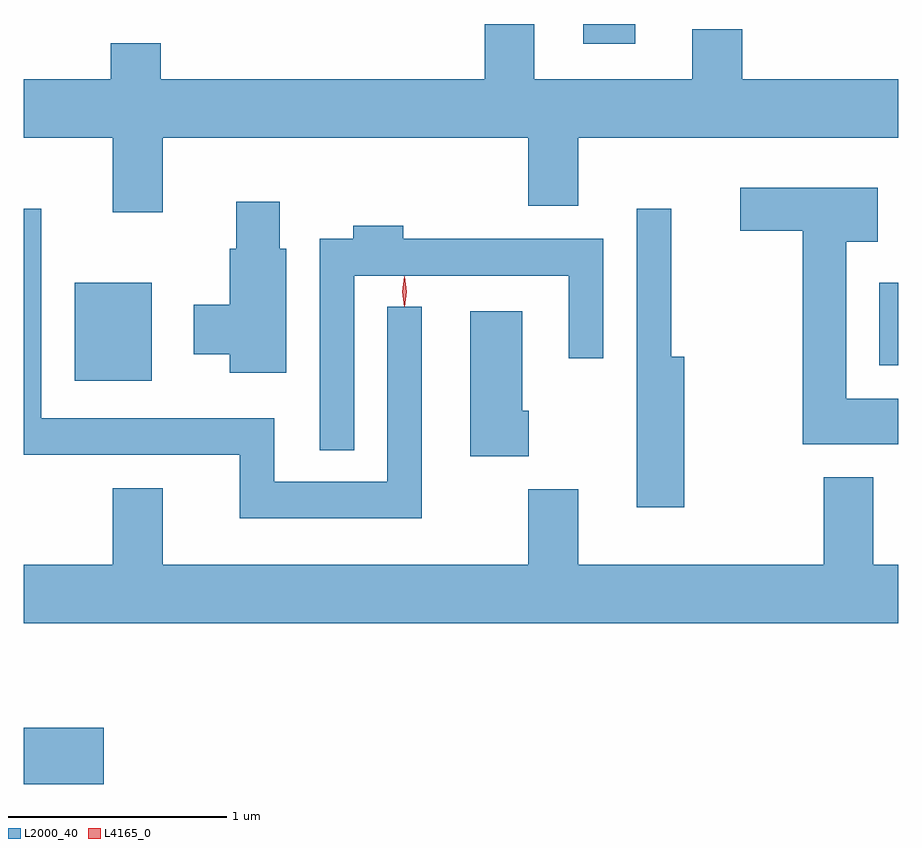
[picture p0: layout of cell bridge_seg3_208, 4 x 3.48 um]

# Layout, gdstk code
import gdstk
lib = gdstk.Library(unit=1e-6, precision=1e-09)
def R(c, l, rs):  # rectangles x0, y0, x1, y1
    for r in rs: c.add(gdstk.rectangle(r[:2], r[2:], *l))
def P(c, l, *ps):  # polygons
    for p in ps: c.add(gdstk.Polygon(p, *l))
L2000_40 = (2000, 40)
L4165_0 = (4165, 0)

bridge_seg3_208 = lib.new_cell('bridge_seg3_208')
R(bridge_seg3_208, L2000_40, [(919.543,1167.461,919.909,1167.719), (919.776,1169.306,920.129,1169.754), (923.456,1169.376,923.543,1169.754), (922.103,1170.846,922.339,1170.937)])
P(bridge_seg3_208, L2000_40, [(920.179,1170.416),(921.851,1170.416),(921.851,1170.106),(922.079,1170.106),(922.079,1170.416),(923.543,1170.416),(923.543,1170.684),(922.829,1170.684),(922.829,1170.914),(922.601,1170.914),(922.601,1170.684),(921.879,1170.684),(921.879,1170.937),(921.651,1170.937),(921.651,1170.684),(920.169,1170.684),(920.169,1170.849),(919.941,1170.849),(919.941,1170.684),(919.543,1170.684),(919.543,1170.416),(919.951,1170.416),(919.951,1170.076),(920.179,1170.076)],
  [(923.543,1169.224),(923.304,1169.224),(923.304,1169.941),(923.449,1169.941),(923.449,1170.189),(922.821,1170.189),(922.821,1169.991),(923.106,1169.991),(923.106,1169.016),(923.543,1169.016)],
  [(920.744,1169.909),(920.714,1169.909),(920.714,1170.124),(920.516,1170.124),(920.516,1169.909),(920.486,1169.909),(920.486,1169.654),(920.321,1169.654),(920.321,1169.426),(920.486,1169.426),(920.486,1169.341),(920.744,1169.341)],
  [(922.564,1169.414),(922.504,1169.414),(922.504,1170.093),(922.346,1170.093),(922.346,1168.726),(922.564,1168.726)],
  [(921.364,1169.643),(921.206,1169.643),(921.206,1168.844),(920.689,1168.844),(920.689,1169.134),(919.624,1169.134),(919.624,1170.093),(919.543,1170.093),(919.543,1168.966),(920.531,1168.966),(920.531,1168.676),(921.364,1168.676)],
  [(921.054,1169.786),(922.036,1169.786),(922.036,1169.408),(922.194,1169.408),(922.194,1169.954),(921.279,1169.954),(921.279,1170.014),(921.051,1170.014),(921.051,1169.954),(920.896,1169.954),(920.896,1168.988),(921.054,1168.988)],
  [(921.854,1169.169),(921.824,1169.169),(921.824,1169.624),(921.586,1169.624),(921.586,1168.961),(921.854,1168.961)],
  [(923.543,1168.464),(923.429,1168.464),(923.429,1168.864),(923.201,1168.864),(923.201,1168.464),(922.079,1168.464),(922.079,1168.809),(921.851,1168.809),(921.851,1168.464),(920.179,1168.464),(920.179,1168.814),(919.951,1168.814),(919.951,1168.464),(919.543,1168.464),(919.543,1168.196),(923.543,1168.196)])
P(bridge_seg3_208, L4165_0, [(921.284,1169.644),(921.284,1169.644),(921.274,1169.713),(921.284,1169.782),(921.284,1169.783),(921.285,1169.782),(921.294,1169.713),(921.285,1169.644)])

lib.write_gds('bridge_seg3_208.gds')
